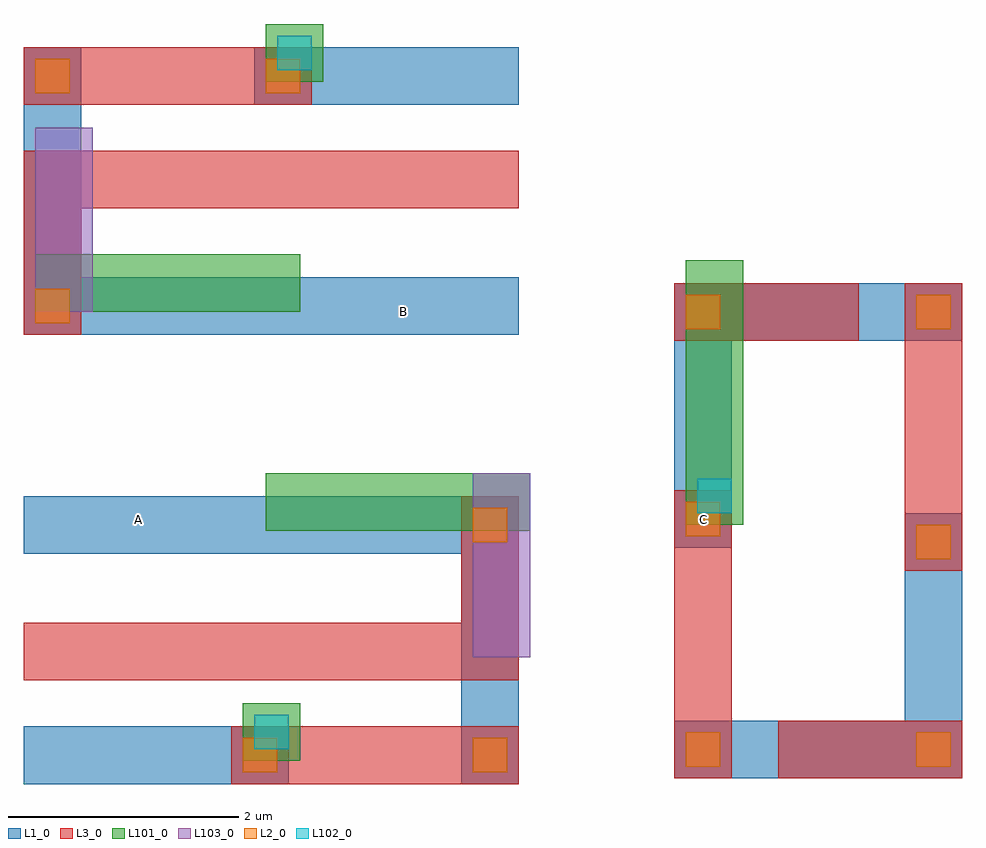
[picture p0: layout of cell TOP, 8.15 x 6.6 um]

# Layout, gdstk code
from math import pi, radians
import gdstk
lib = gdstk.Library(unit=1e-6, precision=1e-09)
def R(c, l, rs):  # rectangles x0, y0, x1, y1
    for r in rs: c.add(gdstk.rectangle(r[:2], r[2:], *l))
L1_0 = (1, 0)
L2_0 = (2, 0)
L3_0 = (3, 0)
L101_0 = (101, 0)
L102_0 = (102, 0)
L103_0 = (103, 0)

c_a = lib.new_cell('A')
R(c_a, L1_0, [(-0.5,-0.5,0,0), (1.5,-0.5,2,2), (1.5,-0.5,2,2), (-0.3,1.5,2,2)])
R(c_a, L2_0, [(-0.4,-0.4,-0.1,-0.1), (1.6,-0.4,1.9,-0.1), (1.6,1.6,1.9,1.9)])
R(c_a, L3_0, [(-0.5,-0.5,2,0), (1.5,0.4,2,2)])
c_a.add(gdstk.Label('AA', (-0.2,-0.3), layer=1, texttype=0))

c_aa = lib.new_cell('AA')
r = gdstk.Reference(c_a, (0.75,0.75), rotation=pi); r.repetition = gdstk.Repetition(1, 1, v1=(0,0), v2=(0,0)); c_aa.add(r)

top = lib.new_cell('TOP')
R(top, L1_0, [(-1.4,1,0.9,1.5), (-1.4,3,0.7,3.5), (0.8,4.9,2.9,5.4), (0.6,6.9,2.9,7.4)])
R(top, L3_0, [(-1.4,1.9,2.9,2.4), (-1.4,6,2.9,6.5)])
R(top, L101_0, [(0.5,1.2,1,1.7), (0.7,3.2,3,3.7), (4.35,3.25,4.85,3.75), (4.35,3.25,4.85,5.55), (-1.3,5.1,1,5.6), (0.7,7.1,1.2,7.6)])
R(top, L102_0, [(0.6,1.3,0.9,1.6), (4.45,3.35,4.75,3.65), (0.8,7.2,1.1,7.5)])
R(top, L103_0, [(2.5,2.1,3,3.7), (-1.3,5.1,-0.8,6.7)])
r = gdstk.Reference(c_a, (0.9,1.5)); r.repetition = gdstk.Repetition(1, 1, v1=(0,0), v2=(0,0)); top.add(r)
top.add(gdstk.Reference(c_aa, (-0.15,6.15)))
r = gdstk.Reference(c_aa, (5.5,2.3), rotation=pi/2); r.repetition = gdstk.Repetition(1, 1, v1=(0,0), v2=(0,0)); top.add(r)
r = gdstk.Reference(c_aa, (5.5,4.1), rotation=3*pi/2); r.repetition = gdstk.Repetition(1, 1, v1=(0,0), v2=(0,0)); top.add(r)
top.add(gdstk.Label('B', (1.9,5.1), layer=1, texttype=0))
top.add(gdstk.Label('C', (4.5,3.3), layer=1, texttype=0))
top.add(gdstk.Label('A', (-0.4,3.3), layer=1, texttype=0))

lib.write_gds('TOP.gds')
